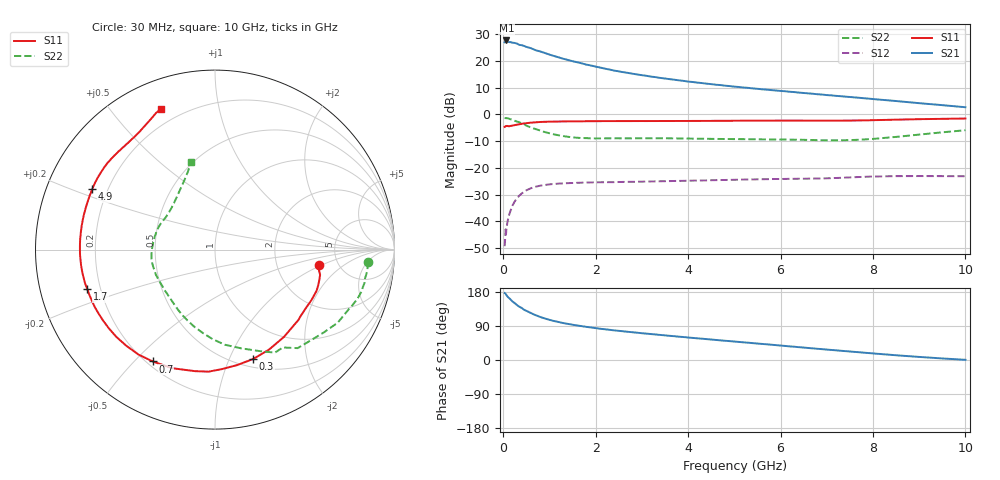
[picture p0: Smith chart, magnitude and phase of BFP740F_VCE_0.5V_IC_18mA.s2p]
! Infineon Technologies  Discrete & RF Semiconductors
! BFP740F
! VCE =  0.5 V,  IC =  18 mA
! Common Emitter S-Parameters:  Oct 2012
# GHz  S  MA  R  50
!  f  S11  S21  S12  S22
! GHz  MAG  ANG  MAG  ANG  MAG  ANG  MAG  ANG
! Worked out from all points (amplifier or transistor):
!   99 points, 30 MHz to 10 GHz, reference 50 ohm
!   highest |S21| = 27.8 dB at 70 MHz (marker M1)
!   |S21| within 3 dB of that: start of sweep to 614 MHz
!   unconditionally stable (mu >= 1): start of sweep to 38.76 MHz; 4.734 GHz to end of sweep
!   at 350 MHz: K = 0.15, MSG = 28.2 dB, |S12| = -30.4 dB
!   at 3.5 GHz: K = 0.79, MSG = 19.3 dB, |S12| = -25.0 dB
!   at 10 GHz: K = 1.54, MAG = 8.6 dB, |S12| = -23.2 dB
!   S11 on the Smith chart (normalised r, x): 30 MHz: 3.56, -0.92; 300 MHz: 0.59, -1.23; 700 MHz: 0.22, -0.57; 1.7 GHz: 0.15, -0.15; 4.9 GHz: 0.14, +0.23; 10 GHz: 0.13, +0.68
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0.03  0.5849 -8.4  22.62 176.8  0.0034 63.2  0.8563 -4.6
0.04  0.5895 -11.0  23.03 176.1  0.0044 71.0  0.8555 -6.2
0.07  0.6085 -19.2  24.42 171.3  0.0074 71.9  0.8509 -11.0
0.12  0.6018 -32.9  22.91 164.0  0.0126 73.4  0.8393 -19.3
0.2  0.6199 -51.7  22.17 154.4  0.0196 65.5  0.7957 -30.8
0.3  0.6456 -70.7  21.29 144.8  0.027 58.3  0.7354 -43.4
0.35  0.6552 -79.2  20.13 140.4  0.0302 55.2  0.7166 -50.0
0.4  0.6667 -86.6  19.91 137.4  0.0331 51.6  0.6632 -55.3
0.45  0.6809 -93.0  19.31 132.5  0.0355 48.8  0.6642 -59.8
0.6  0.7028 -110.0  17.5 123.8  0.0415 41.0  0.5694 -75.1
0.7  0.7133 -119.1  16.04 118.3  0.0442 36.8  0.5332 -84.0
0.9  0.7289 -132.7  14.23 109.6  0.0477 30.3  0.4687 -98.5
1.1  0.7363 -143.3  12.49 102.8  0.0499 25.8  0.4237 -111.2
1.4  0.7424 -154.6  10.52 95.2  0.0516 21.2  0.382 -126.0
1.7  0.7448 -162.9  9.087 89.3  0.0527 18.2  0.3614 -138.6
2.4  0.752 -176.7  6.66 78.2  0.0539 14.3  0.358 -157.0
3.4  0.7547 169.9  4.846 66.1  0.056 12.3  0.3586 -170.7
4.9  0.7619 153.7  3.408 49.8  0.0595 10.3  0.3466 173.2
5.1  0.764 151.8  3.277 47.7  0.06 10.0  0.3454 170.9
6.7  0.7666 135.8  2.445 30.7  0.0629 8.1  0.3325 151.8
8.5  0.7997 118.1  1.788 12.5  0.0699 4.0  0.38 121.6
10  0.8405 111.0  1.368 0.5  0.0695 0.1  0.507 105.3
